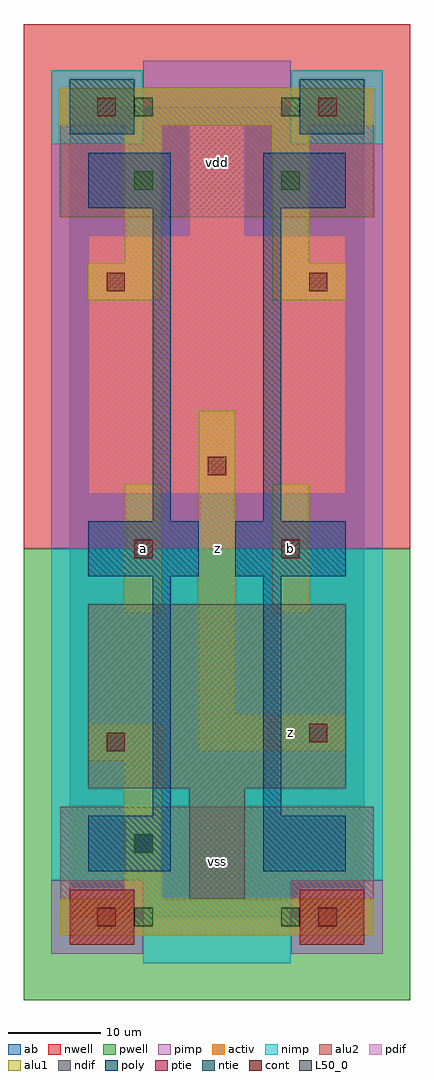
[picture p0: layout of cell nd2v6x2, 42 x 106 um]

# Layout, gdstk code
import gdstk
lib = gdstk.Library(unit=1e-6, precision=1e-09)
def R(c, l, rs):  # rectangles x0, y0, x1, y1
    for r in rs: c.add(gdstk.rectangle(r[:2], r[2:], *l))
ndif = (3, 0)
pdif = (4, 0)
ntie = (5, 0)
ptie = (6, 0)
cont = (25, 0)
pwell = (41, 0)
nwell = (42, 0)
activ = (43, 0)
pimp = (44, 0)
nimp = (45, 0)
poly = (46, 0)
alu1 = (49, 0)
L50_0 = (50, 0)
alu2 = (51, 0)
ab = (63, 0)

nd2v6x2 = lib.new_cell('nd2v6x2')
R(nd2v6x2, ndif, [(13,2,19,14), (2,14,30,34)])
R(nd2v6x2, pdif, [(2,46,30,74), (13,74,19,86)])
R(nd2v6x2, ntie, [(0,85,7,91), (25,85,32,91)])
R(nd2v6x2, ptie, [(0,-3,7,3), (25,-3,32,3)])
R(nd2v6x2, cont, [(3,-1,5,1), (27,-1,29,1), (4,18,6,20), (26,19,28,21), (7,39,9,41), (23,39,25,41), (15,48,17,50), (4,68,6,70), (26,68,28,70), (3,87,5,89), (27,87,29,89)])
R(nd2v6x2, pwell, [(-5,-9,37,40)])
R(nd2v6x2, nwell, [(-5,40,37,97)])
R(nd2v6x2, activ, [(0,-3,7,3), (25,-3,32,3), (13,2,19,14), (2,14,30,34), (2,46,30,74), (13,74,19,86), (0,85,7,91), (25,85,32,91)])
R(nd2v6x2, pimp, [(-2,-4,8,4), (24,-4,34,4), (-2,40,34,84), (8,84,24,93)])
R(nd2v6x2, nimp, [(8,-5,24,4), (-2,4,34,40), (-2,84,8,92), (24,84,34,92)])
R(nd2v6x2, poly, [(2,5,11,11), (21,5,30,11), (9,11,11,37), (21,11,23,37), (2,37,14,43), (18,37,30,43), (9,43,11,77), (21,43,23,77), (2,77,11,83), (21,77,30,83)])
R(nd2v6x2, alu1, [(-1,-2,33,2), (6,2,10,17), (2,17,10,21), (14,18,30,22), (14,22,18,55), (6,33,10,47), (22,33,26,47), (2,67,10,71), (22,67,30,71), (6,71,10,86), (22,71,26,86), (-1,86,33,90)])
R(nd2v6x2, L50_0, [(7,-1,9,1), (23,-1,25,1), (7,7,9,9), (7,79,9,81), (23,79,25,81), (7,87,9,89), (23,87,25,89)])
R(nd2v6x2, alu2, [(-1,-2,33,12), (-1,76,33,90)])
R(nd2v6x2, ab, [(0,0,32,88)])
nd2v6x2.add(gdstk.Label('a', (8,40), layer=49, texttype=0))
nd2v6x2.add(gdstk.Label('z', (16,40), layer=49, texttype=0))
nd2v6x2.add(gdstk.Label('z', (24,20), layer=49, texttype=0))
nd2v6x2.add(gdstk.Label('b', (24,40), layer=49, texttype=0))
nd2v6x2.add(gdstk.Label('vss', (16,6), layer=51, texttype=0))
nd2v6x2.add(gdstk.Label('vdd', (16,82), layer=51, texttype=0))

lib.write_gds('nd2v6x2.gds')
